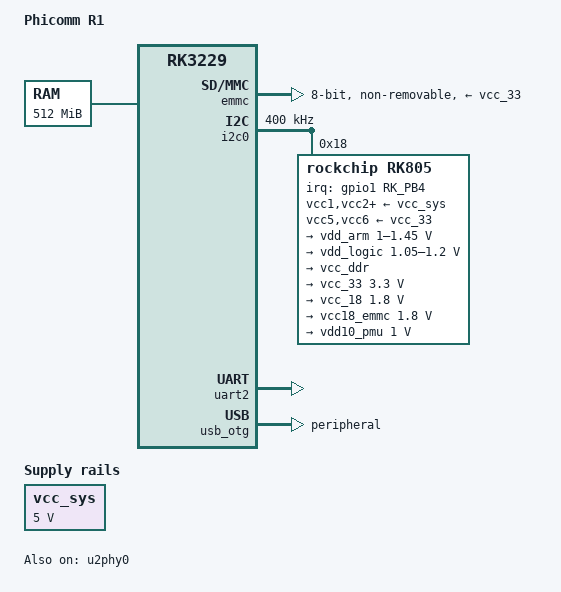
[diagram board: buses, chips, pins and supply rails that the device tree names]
// SPDX-License-Identifier: (GPL-2.0+ OR MIT)

/dts-v1/;

#include <dt-bindings/gpio/gpio.h>
#include <dt-bindings/interrupt-controller/irq.h>
#include <dt-bindings/pinctrl/rockchip.h>
#include "rk3229.dtsi"

/ {
	model = "Phicomm R1";
	compatible = "phicomm,r1", "rockchip,rk3229";

	aliases {
		mmc0 = &emmc;
		serial2 = &uart2;
	};

	chosen {
		stdout-path = "serial2:1500000n8";
	};

	/* The bundled Trust OS implements the PSCI 0.1 interface from the vendor DT. */
	psci {
		compatible = "arm,psci";
		method = "smc";
		cpu_suspend = <0x84000001>;
		cpu_off = <0x84000002>;
		cpu_on = <0x84000003>;
	};

	memory@60000000 {
		device_type = "memory";
		reg = <0x60000000 0x20000000>;
	};

	vcc_sys: regulator-vcc-sys {
		compatible = "regulator-fixed";
		regulator-name = "vcc_sys";
		regulator-min-microvolt = <5000000>;
		regulator-max-microvolt = <5000000>;
		regulator-always-on;
		regulator-boot-on;
	};
};

&cpu0 {
	cpu-supply = <&vdd_arm>;
};

&cpu1 {
	cpu-supply = <&vdd_arm>;
};

&cpu2 {
	cpu-supply = <&vdd_arm>;
};

&cpu3 {
	cpu-supply = <&vdd_arm>;
};

/*
 * Keep the CPU at the 600 MHz rate established by the vendor bootloader.
 * The upstream rk322x.dtsi assigns ARMCLK to 816 MHz independently of
 * cpufreq, which prevents cpufreq.off=1 from being a true 600 MHz test.
 */
&cru {
	assigned-clock-rates =
		<594000000>, <600000000>,
		<500000000>, <150000000>,
		<150000000>, <75000000>,
		<150000000>, <150000000>,
		<75000000>;
};

&emmc {
	bus-width = <8>;
	cap-mmc-highspeed;
	mmc-hs200-1_8v;
	non-removable;
	vmmc-supply = <&vcc_33>;
	vqmmc-supply = <&vcc18_emmc>;
	status = "okay";
};

&i2c0 {
	clock-frequency = <400000>;
	status = "okay";

	rk805: pmic@18 {
		compatible = "rockchip,rk805";
		reg = <0x18>;
		interrupt-parent = <&gpio1>;
		interrupts = <RK_PB4 IRQ_TYPE_LEVEL_LOW>;
		pinctrl-names = "default";
		pinctrl-0 = <&pmic_int_l>;
		system-power-controller;
		wakeup-source;
		#clock-cells = <0>;

		vcc1-supply = <&vcc_sys>;
		vcc2-supply = <&vcc_sys>;
		vcc3-supply = <&vcc_sys>;
		vcc4-supply = <&vcc_sys>;
		vcc5-supply = <&vcc_33>;
		vcc6-supply = <&vcc_33>;

		regulators {
			vdd_arm: DCDC_REG1 {
				regulator-name = "vdd_arm";
				regulator-min-microvolt = <1000000>;
				regulator-max-microvolt = <1450000>;
				regulator-always-on;
				regulator-boot-on;
			};

			vdd_logic: DCDC_REG2 {
				regulator-name = "vdd_logic";
				regulator-min-microvolt = <1050000>;
				regulator-max-microvolt = <1200000>;
				regulator-always-on;
				regulator-boot-on;
			};

			vcc_ddr: DCDC_REG3 {
				regulator-name = "vcc_ddr";
				regulator-always-on;
				regulator-boot-on;
			};

			vcc_33: DCDC_REG4 {
				regulator-name = "vcc_33";
				regulator-min-microvolt = <3300000>;
				regulator-max-microvolt = <3300000>;
				regulator-always-on;
				regulator-boot-on;
			};

			vcc_18: LDO_REG1 {
				regulator-name = "vcc_18";
				regulator-min-microvolt = <1800000>;
				regulator-max-microvolt = <1800000>;
				regulator-always-on;
				regulator-boot-on;
			};

			vcc18_emmc: LDO_REG2 {
				regulator-name = "vcc18_eMMC";
				regulator-min-microvolt = <1800000>;
				regulator-max-microvolt = <1800000>;
				regulator-always-on;
				regulator-boot-on;
			};

			vdd10_pmu: LDO_REG3 {
				regulator-name = "vdd10_pmu";
				regulator-min-microvolt = <1000000>;
				regulator-max-microvolt = <1000000>;
				regulator-always-on;
				regulator-boot-on;
			};
		};
	};
};

&pinctrl {
	pmic {
		pmic_int_l: pmic-int-l {
			rockchip,pins = <1 RK_PB4 RK_FUNC_GPIO &pcfg_pull_up>;
		};
	};
};

&uart2 {
	pinctrl-0 = <&uart21_xfer>;
	status = "okay";
};

/* Keep USB controller setup conservative until VBUS polarity is verified. */
&u2phy0 {
	status = "okay";

	u2phy0_otg: otg-port {
		status = "okay";
	};
};

&usb_otg {
	dr_mode = "peripheral";
	status = "okay";
};
